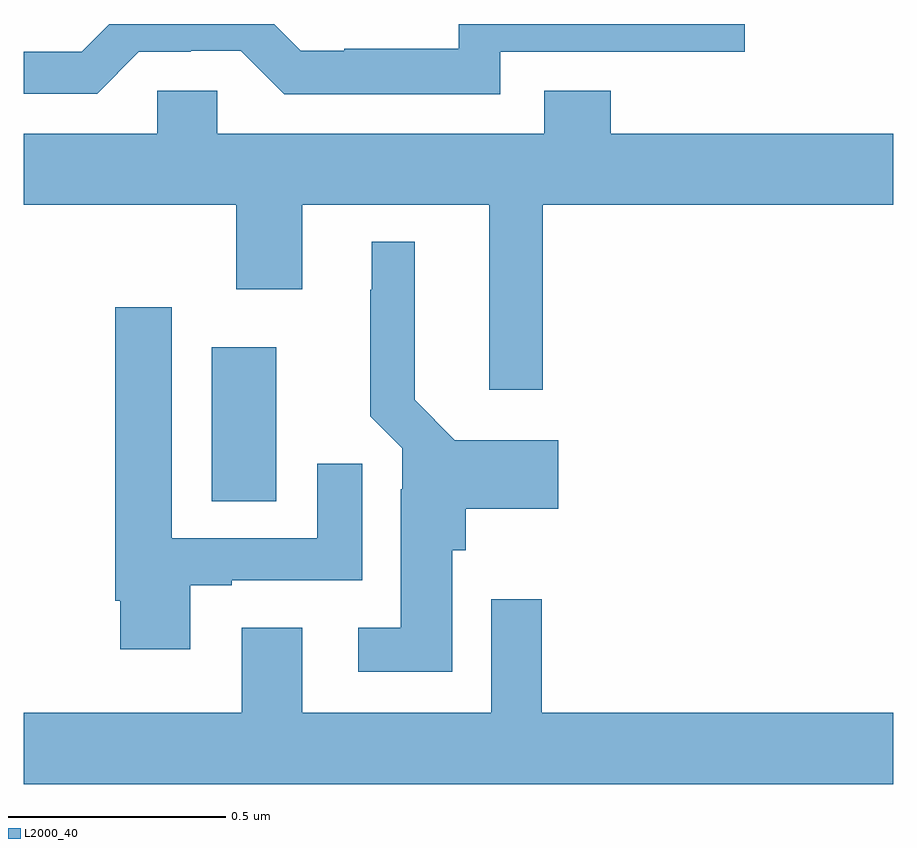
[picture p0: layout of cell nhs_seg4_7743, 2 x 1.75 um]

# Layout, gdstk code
import gdstk
lib = gdstk.Library(unit=1e-6, precision=1e-09)
def R(c, l, rs):  # rectangles x0, y0, x1, y1
    for r in rs: c.add(gdstk.rectangle(r[:2], r[2:], *l))
def P(c, l, *ps):  # polygons
    for p in ps: c.add(gdstk.Polygon(p, *l))
L2000_40 = (2000, 40)

nhs_seg4_7743 = lib.new_cell('nhs_seg4_7743')
R(nhs_seg4_7743, L2000_40, [(206.432,798.802,206.581,799.156)])
P(nhs_seg4_7743, L2000_40, [(207.096,799.836),(207.658,799.836),(207.658,799.9),(207,799.9),(207,799.843),(206.737,799.843),(206.737,799.839),(206.637,799.839),(206.576,799.9),(206.197,799.9),(206.133,799.836),(206,799.836),(206,799.74),(206.169,799.74),(206.265,799.836),(206.384,799.836),(206.384,799.839),(206.499,799.839),(206.599,799.739),(207.096,799.739)],
  [(207.194,799.484),(208,799.484),(208,799.648),(207.35,799.648),(207.35,799.747),(207.197,799.747),(207.197,799.648),(206.445,799.648),(206.445,799.746),(206.307,799.746),(206.307,799.648),(206,799.648),(206,799.484),(206.489,799.484),(206.489,799.29),(206.641,799.29),(206.641,799.484),(207.071,799.484),(207.071,799.059),(207.194,799.059)],
  [(206.986,798.69),(207.017,798.69),(207.017,798.785),(207.229,798.785),(207.229,798.943),(206.991,798.943),(206.899,799.036),(206.899,799.399),(206.801,799.399),(206.801,799.289),(206.797,799.289),(206.797,798.998),(206.871,798.924),(206.871,798.83),(206.867,798.83),(206.867,798.511),(206.769,798.511),(206.769,798.41),(206.986,798.41)],
  [(206.383,798.609),(206.479,798.609),(206.479,798.621),(206.779,798.621),(206.779,798.889),(206.675,798.889),(206.675,798.717),(206.341,798.717),(206.341,799.249),(206.21,799.249),(206.21,798.574),(206.222,798.574),(206.222,798.462),(206.383,798.462)],
  [(208,798.316),(207.191,798.316),(207.191,798.577),(207.075,798.577),(207.075,798.316),(206.641,798.316),(206.641,798.511),(206.501,798.511),(206.501,798.316),(206,798.316),(206,798.152),(208,798.152)])

lib.write_gds('nhs_seg4_7743.gds')
